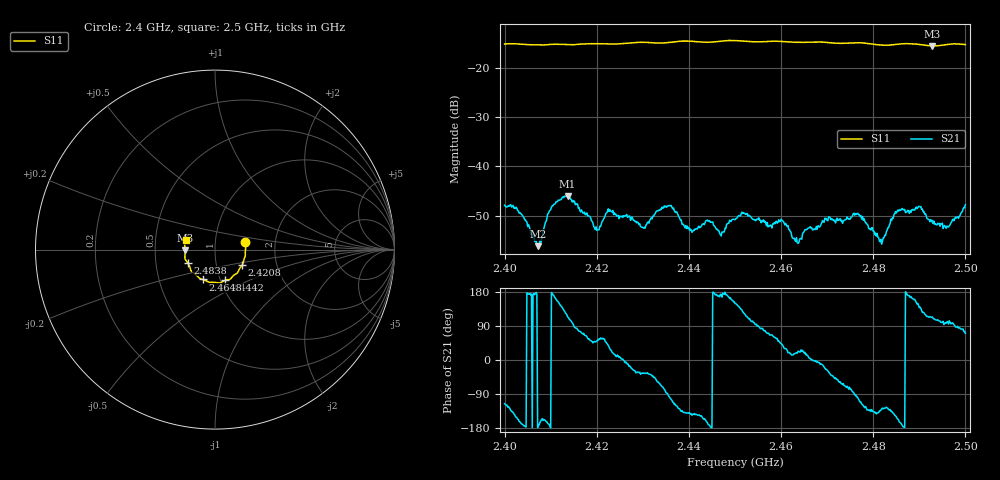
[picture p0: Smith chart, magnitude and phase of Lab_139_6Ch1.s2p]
# Hz S RI R 50
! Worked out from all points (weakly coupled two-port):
!   601 points, 2.4 GHz to 2.5 GHz, reference 50 ohm
!   highest |S21| = -46.03 dB at 2.4137 GHz (marker M1); lowest = -56.2 dB at 2.4073 GHz (marker M2)
!   lowest |S11| = -15.6 dB at 2.4928 GHz (marker M3), VSWR 1.40, Z = 35.8 - j0.345 ohm
!   |S11| at or under -10 dB: start of sweep to end of sweep
!   S12 and S22 are empty: the file has one direction only
!   S11 on the Smith chart (normalised r, x): 2.4 GHz: 1.40, +0.12; 2.4208 GHz: 1.33, -0.24; 2.4442 GHz: 1.05, -0.37; 2.4648 GHz: 0.83, -0.28; 2.4838 GHz: 0.73, -0.11; 2.5 GHz: 0.72, +0.08
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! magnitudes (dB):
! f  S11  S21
! 2.4 GHz  -15.2  -47.9
! 2.4073 GHz  -15.4  -56.2
! 2.4102 GHz  -15.3  -48.3
! 2.4137 GHz  -15.4  -46.0
! 2.4167 GHz  -15.2  -48.8
! 2.4208 GHz  -15.2  -52.2
! 2.423 GHz  -15.2  -49.1
! 2.4302 GHz  -14.9  -52.6
! 2.4333 GHz  -15.0  -49.1
! 2.4407 GHz  -14.7  -53.4
! 2.4442 GHz  -14.9  -51.1
! 2.4472 GHz  -14.6  -53.4
! 2.45 GHz  -14.5  -50.8
! 2.4648 GHz  -14.9  -53.5
! 2.4667 GHz  -14.8  -52.5
! 2.4762 GHz  -15.0  -49.6
! 2.4818 GHz  -15.4  -55.8
! 2.4833 GHz  -15.5  -52.4
! 2.4838 GHz  -15.4  -50.7
! 2.4898 GHz  -15.3  -48.1
! 2.4928 GHz  -15.6  -51.0
! 2.5 GHz  -15.3  -47.8
